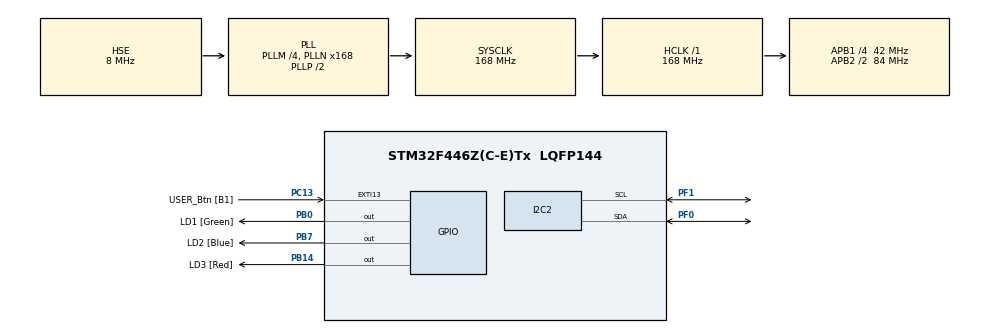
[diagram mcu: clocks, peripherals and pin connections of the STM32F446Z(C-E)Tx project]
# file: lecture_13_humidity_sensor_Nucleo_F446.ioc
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Mcu.Family=STM32F4
Mcu.Name=STM32F446Z(C-E)Tx
Mcu.Package=LQFP144
NVIC.EXTI15_10_IRQn=true\:0\:0\:false\:false\:true\:true\:true\:true
NVIC.PriorityGroup=NVIC_PRIORITYGROUP_4
PA13.Mode=Serial_Wire
PA13.Signal=SYS_JTMS-SWDIO
PA14.Mode=Serial_Wire
PA14.Signal=SYS_JTCK-SWCLK
PB0.GPIO_Label=LD1 [Green]
PB0.Signal=GPIO_Output
PB14.GPIO_Label=LD3 [Red]
PB14.Signal=GPIO_Output
PB7.GPIO_Label=LD2 [Blue]
PB7.Signal=GPIO_Output
PC13.GPIO_Label=USER_Btn [B1]
PC13.Signal=GPXTI13
PC14-OSC32_IN.Mode=LSE-External-Oscillator
PC14-OSC32_IN.Signal=RCC_OSC32_IN
PC15-OSC32_OUT.Mode=LSE-External-Oscillator
PC15-OSC32_OUT.Signal=RCC_OSC32_OUT
PF0.Mode=I2C
PF0.Signal=I2C2_SDA
PF1.Mode=I2C
PF1.Signal=I2C2_SCL
PH0-OSC_IN.Mode=HSE-External-Clock-Source
PH0-OSC_IN.Signal=RCC_OSC_IN
PH1-OSC_OUT.Mode=HSE-External-Clock-Source
PH1-OSC_OUT.Signal=RCC_OSC_OUT
ProjectManager.HeapSize=0x200
ProjectManager.StackSize=0x400
ProjectManager.TargetToolchain=STM32CubeIDE
RCC.48MHZClocksFreq_Value=24000000
RCC.AHBFreq_Value=168000000
RCC.APB1CLKDivider=RCC_HCLK_DIV4
RCC.APB1Freq_Value=42000000
RCC.APB1TimFreq_Value=84000000
RCC.APB2CLKDivider=RCC_HCLK_DIV2
RCC.APB2Freq_Value=84000000
RCC.APB2TimFreq_Value=168000000
RCC.CortexFreq_Value=168000000
RCC.HCLKFreq_Value=168000000
RCC.HSE_VALUE=8000000
RCC.HSI_VALUE=16000000
RCC.PLLM=4
RCC.PLLMUL=RCC_PLL_MUL9
RCC.PLLN=168
RCC.PLLQ=7
RCC.PLLSourceVirtual=RCC_PLLSOURCE_HSE
RCC.PRESCALERUSB=RCC_USBCLKSOURCE_PLL_DIV1_5
RCC.SYSCLKFreq_VALUE=168000000
RCC.SYSCLKSource=RCC_SYSCLKSOURCE_PLLCLK
RCC.SYSCLKSourceVirtual=RCC_SYSCLKSOURCE_PLLCLK
RCC.USBFreq_Value=48000000
RCC.VCOOutputFreq_Value=336000000
board=NUCLEO-F446ZE

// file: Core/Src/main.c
/* USER CODE BEGIN Header */
/**
  ******************************************************************************
  * @file           : main.c
  * @brief          : Main program body
  ******************************************************************************
  * @attention
  *
  * Copyright (c) 2024 STMicroelectronics.
  * All rights reserved.
  *
  * This software is licensed under terms that can be found in the LICENSE file
  * in the root directory of this software component.
  * If no LICENSE file comes with this software, it is provided AS-IS.
  *
  ******************************************************************************
  */
/* USER CODE END Header */
#include "main.h"
#include "i2c.h"
#include "gpio.h"

/* USER CODE BEGIN Includes */

#include "OLED.h"
#include "humidity_sensor.h"
#include <stdio.h>

/* USER CODE END Includes */

void SystemClock_Config(void);

int main(void)
{

  /* MCU Configuration--------------------------------------------------------*/

  /* Reset of all peripherals, Initializes the Flash interface and the Systick. */
  HAL_Init();

  /* Configure the system clock */
  SystemClock_Config();

  /* Initialize all configured peripherals */
  MX_GPIO_Init();
  MX_I2C2_Init();
  /* USER CODE BEGIN 2 */

  // Initialize OLED display for showing temperature reading
  OLED_Init();

  // Storing measured data
  float humidityLevel;
  float temperature;

  // Character array for displaying the measured humidity
  int string_length = 20;
  char humidityLevel_char[string_length];
  char temperature_char[string_length];

  /* USER CODE END 2 */

  /* Infinite loop */
  /* USER CODE BEGIN WHILE */
  while (1)
  {
	  /* Read sensor and convert data
	  	 Integer and fractional parts converted separately,
	  	 since casting to (uint16_t) will ignore fractional part of the float type number.*/
	  HumTempSensor_GetValues(&humidityLevel, &temperature);
	  sprintf(humidityLevel_char, "%d.%d%%", (uint16_t)humidityLevel, (uint16_t)(humidityLevel * 100) - ((uint16_t)humidityLevel) * 100);
	  sprintf(temperature_char, "%d.%d C", (uint16_t)temperature, (uint16_t)(temperature * 100) - ((uint16_t)temperature) * 100 );

	  // Update screen
	  OLED_Fill(Black);

	  OLED_SetCursor(2, 0);
	  OLED_WriteString("Relative humidity:", Font_7x10, White);
	  OLED_SetCursor(2, 10);
	  OLED_WriteString(humidityLevel_char, Font_7x10, White);
	  OLED_SetCursor(2, 10+10);
	  OLED_WriteString("Temperature:", Font_7x10, White);
	  OLED_SetCursor(2, 10+10+10);
	  OLED_WriteString(temperature_char, Font_7x10, White);
	  // The position of the circle depends on the length of the fractional part of the displayed number
	  if (temperature_char[4] == ' ')
	  {
		  OLED_DrawCircle(33, 32, 2, White);
	  }
	  else
	  {
		  OLED_DrawCircle(40, 32, 2, White);
	  }

	  OLED_UpdateScreen();

	  HAL_Delay(200);

    /* USER CODE END WHILE */

  }
}

void SystemClock_Config(void)
{
  RCC_OscInitTypeDef RCC_OscInitStruct = {0};
  RCC_ClkInitTypeDef RCC_ClkInitStruct = {0};

  /** Configure the main internal regulator output voltage
  */
  __HAL_RCC_PWR_CLK_ENABLE();
  __HAL_PWR_VOLTAGESCALING_CONFIG(PWR_REGULATOR_VOLTAGE_SCALE1);

  /** Initializes the RCC Oscillators according to the specified parameters
  * in the RCC_OscInitTypeDef structure.
  */
  RCC_OscInitStruct.OscillatorType = RCC_OSCILLATORTYPE_HSE;
  RCC_OscInitStruct.HSEState = RCC_HSE_BYPASS;
  RCC_OscInitStruct.PLL.PLLState = RCC_PLL_ON;
  RCC_OscInitStruct.PLL.PLLSource = RCC_PLLSOURCE_HSE;
  RCC_OscInitStruct.PLL.PLLM = 4;
  RCC_OscInitStruct.PLL.PLLN = 168;
  RCC_OscInitStruct.PLL.PLLP = RCC_PLLP_DIV2;
  RCC_OscInitStruct.PLL.PLLQ = 7;
  RCC_OscInitStruct.PLL.PLLR = 2;
  if (HAL_RCC_OscConfig(&RCC_OscInitStruct) != HAL_OK)
  {
    Error_Handler();
  }

  /** Initializes the CPU, AHB and APB buses clocks
  */
  RCC_ClkInitStruct.ClockType = RCC_CLOCKTYPE_HCLK|RCC_CLOCKTYPE_SYSCLK
                              |RCC_CLOCKTYPE_PCLK1|RCC_CLOCKTYPE_PCLK2;
  RCC_ClkInitStruct.SYSCLKSource = RCC_SYSCLKSOURCE_PLLCLK;
  RCC_ClkInitStruct.AHBCLKDivider = RCC_SYSCLK_DIV1;
  RCC_ClkInitStruct.APB1CLKDivider = RCC_HCLK_DIV4;
  RCC_ClkInitStruct.APB2CLKDivider = RCC_HCLK_DIV2;

  if (HAL_RCC_ClockConfig(&RCC_ClkInitStruct, FLASH_LATENCY_5) != HAL_OK)
  {
    Error_Handler();
  }
}

void Error_Handler(void)
{
  __disable_irq();
  while (1)
  {
  }
}
